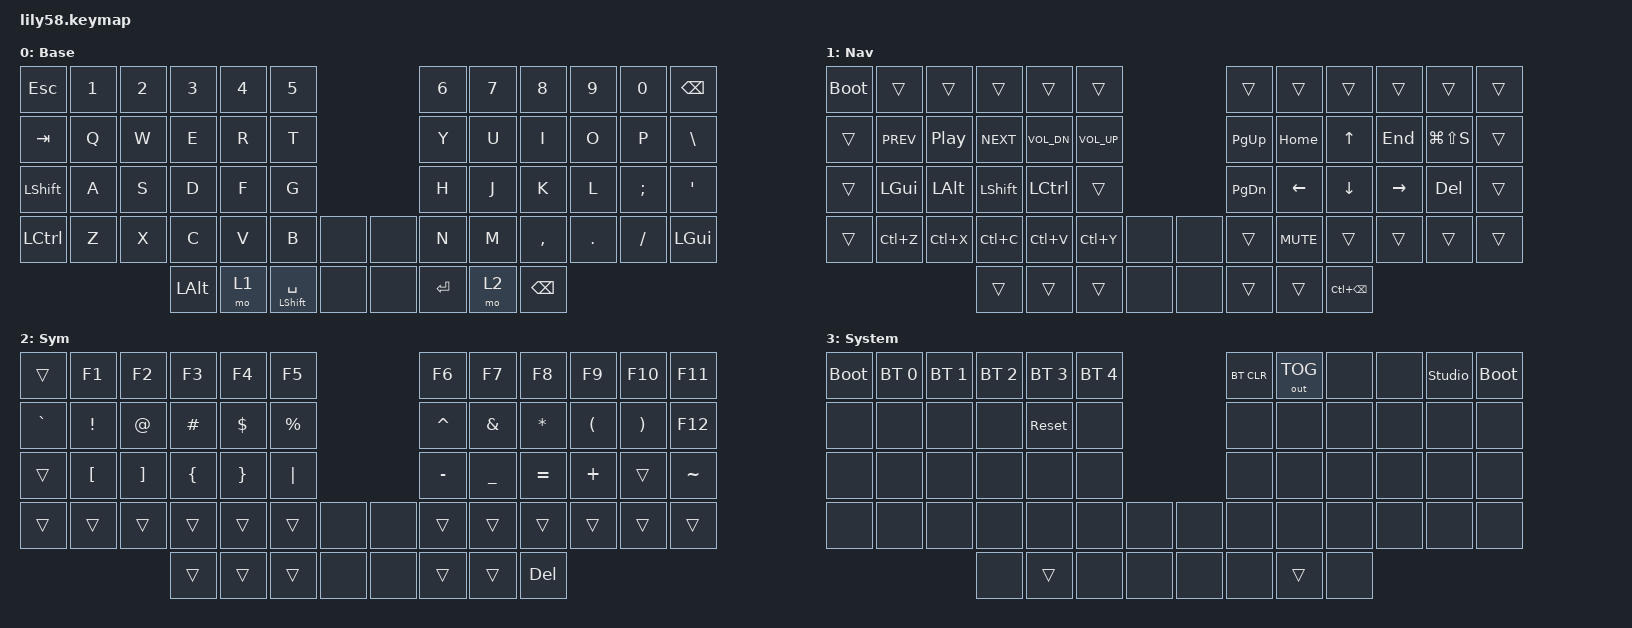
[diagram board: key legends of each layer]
/*
 * Chris's Lily58-style 54-key wireless split (nice!nano v2 clones), ZMK v0.3.
 *
 * The board uses ZMK's stock Lily58 definition, which has 58 key positions.
 * These 4 positions do not exist physically on this board and are set to &none:
 *   42 ("[" inner key, left), 43 ("]" inner key, right),
 *   53 (inner-most left thumb), 54 (inner-most right thumb).
 * (Keymap Editor draws 53/54 as the tilted thumb keys. Your real tilted
 *  thumb keys are 52 = Space and 55 = Enter.)
 *
 * Key position numbers (used by combos):
 *    0  1  2  3  4  5                     6  7  8  9 10 11
 *   12 13 14 15 16 17                    18 19 20 21 22 23
 *   24 25 26 27 28 29                    30 31 32 33 34 35
 *   36 37 38 39 40 41 (42)          (43) 44 45 46 47 48 49
 *            50 51 52 (53)          (54) 55 56 57
 *
 * Layers:
 *   0 Base
 *   1 Nav    hold left FN thumb   (left hand holds mods, right hand moves)
 *   2 Sym    hold right thumb     (F-keys + symbols)
 *   3 System hold BOTH layer thumbs (Bluetooth, bootloader, Studio unlock)
 *   4 Extra  spare, enable it in ZMK Studio
 */

#include <behaviors.dtsi>
#include <dt-bindings/zmk/keys.h>
#include <dt-bindings/zmk/bt.h>
#include <dt-bindings/zmk/outputs.h>

/ {
    behaviors {
        // Tap = Space, hold = Shift. "balanced": Shift only if another key is
        // pressed AND released while Space is still down, so fast rolls stay spaces.
        space_shift: space_shift {
            compatible = "zmk,behavior-hold-tap";
            display-name = "Space / Shift";
            #binding-cells = <2>;
            bindings = <&kp>, <&kp>;
            tapping-term-ms = <200>;
            flavor = "balanced";
        };
    };

    conditional_layers {
        compatible = "zmk,conditional-layers";

        // Holding Nav (1) and Sym (2) together turns on System (3).
        tri_layer {
            if-layers = <1 2>;
            then-layer = <3>;
        };
    };

    combos {
        compatible = "zmk,combos";

        // Safety combos. Studio can't change combos, so these always work.
        combo_studio_unlock {
            timeout-ms = <80>;
            key-positions = <0 11>;             // top-left + top-right corner keys -> unlock ZMK Studio
            bindings = <&studio_unlock>;
        };

        combo_bootloader_left {
            timeout-ms = <80>;
            key-positions = <0 12 24>;          // left outer column, top 3 keys (Esc+Tab+Shift) -> left half bootloader
            bindings = <&bootloader>;
        };

        combo_dictation {
            timeout-ms = <50>;
            key-positions = <52 55>;            // Space + Enter thumbs -> Ctrl+Win+Space (Wispr Flow)
            bindings = <&kp LC(LG(SPACE))>;
        };
    };

    keymap {
        compatible = "zmk,keymap";

        base_layer {
            display-name = "Base";
// | ESC  |  1  |  2  |  3  |  4  |  5  |               |  6  |  7  |  8  |  9  |  0  | BKSP |
// | TAB  |  Q  |  W  |  E  |  R  |  T  |               |  Y  |  U  |  I  |  O  |  P  |  \   |
// | SHFT |  A  |  S  |  D  |  F  |  G  |               |  H  |  J  |  K  |  L  |  ;  |  '   |
// | CTRL |  Z  |  X  |  C  |  V  |  B  |  --  |  |  -- |  N  |  M  |  ,  |  .  |  /  | WIN  |
//                    | ALT | NAV |SPC/SHFT| -- |  | -- |ENTER| SYM |BKSP |
            bindings = <
&kp ESC   &kp N1 &kp N2 &kp N3   &kp N4 &kp N5                                         &kp N6 &kp N7   &kp N8    &kp N9  &kp N0   &kp BSPC
&kp TAB   &kp Q  &kp W  &kp E    &kp R  &kp T                                          &kp Y  &kp U    &kp I     &kp O   &kp P    &kp BSLH
&kp LSHFT &kp A  &kp S  &kp D    &kp F  &kp G                                          &kp H  &kp J    &kp K     &kp L   &kp SEMI &kp SQT
&kp LCTRL &kp Z  &kp X  &kp C    &kp V  &kp B                  &none        &none      &kp N  &kp M    &kp COMMA &kp DOT &kp FSLH &kp LGUI
                        &kp LALT &mo 1  &space_shift LSHFT SPACE &none      &none      &kp RET &mo 2   &kp BSPC
            >;
        };

        nav_layer {
            display-name = "Nav";
// | BOOT |     |     |     |     |     |               |     |     |     |     |     |      |
// |      |PREV |PLAY |NEXT |VOL- |VOL+ |               |PGUP |HOME | UP  | END |SNIP |      |
// |      | WIN | ALT |SHFT |CTRL |     |               |PGDN |LEFT |DOWN |RIGHT| DEL |      |
// |      |UNDO | CUT |COPY |PASTE|REDO |  --  |  |  -- |     |MUTE |     |     |     |      |
//                    | ALT |(held)|    |  --  |  |  -- |     | SYS |DELWORD|
            bindings = <
&bootloader &trans     &trans    &trans     &trans       &trans                        &trans    &trans     &trans   &trans    &trans        &trans
&trans      &kp C_PREV &kp C_PP  &kp C_NEXT &kp C_VOL_DN &kp C_VOL_UP                  &kp PG_UP &kp HOME   &kp UP   &kp END   &kp LG(LS(S)) &trans
&trans      &kp LGUI   &kp LALT  &kp LSHFT  &kp LCTRL    &trans                        &kp PG_DN &kp LEFT   &kp DOWN &kp RIGHT &kp DEL       &trans
&trans      &kp LC(Z)  &kp LC(X) &kp LC(C)  &kp LC(V)    &kp LC(Y)  &none    &none     &trans    &kp C_MUTE &trans   &trans    &trans        &trans
                                 &trans     &trans       &trans     &none    &none     &trans    &trans     &kp LC(BSPC)
            >;
        };

        sym_layer {
            display-name = "Sym";
// |      | F1  | F2  | F3  | F4  | F5  |               | F6  | F7  | F8  | F9  | F10 | F11  |
// |  `   |  !  |  @  |  #  |  $  |  %  |               |  ^  |  &  |  *  |  (  |  )  | F12  |
// |      |  [  |  ]  |  {  |  }  |  |  |               |  -  |  _  |  =  |  +  |     |  ~   |
// |      |     |     |     |     |     |  --  |  |  -- |     |     |     |     |     |      |
//                    | ALT | SYS |     |  --  |  |  -- |     |(held)| DEL |
            bindings = <
&trans    &kp F1   &kp F2   &kp F3   &kp F4   &kp F5                             &kp F6    &kp F7    &kp F8    &kp F9   &kp F10  &kp F11
&kp GRAVE &kp EXCL &kp AT   &kp HASH &kp DLLR &kp PRCNT                          &kp CARET &kp AMPS  &kp ASTRK &kp LPAR &kp RPAR &kp F12
&trans    &kp LBKT &kp RBKT &kp LBRC &kp RBRC &kp PIPE                           &kp MINUS &kp UNDER &kp EQUAL &kp PLUS &trans   &kp TILDE
&trans    &trans   &trans   &trans   &trans   &trans    &none         &none      &trans    &trans    &trans    &trans   &trans   &trans
                            &trans   &trans   &trans    &none         &none      &trans    &trans    &kp DEL
            >;
        };

        sys_layer {
            display-name = "System";
// | BOOT | BT1 | BT2 | BT3 | BT4 | BT5 |               |BTCLR|USB/BT|    |     |UNLCK| BOOT |
// |      |     |     |     |RESTART|    |               |     |      |    |     |     |      |
// |   (everything else does nothing on this layer)                                         |
//                    |     |(held)|    |  --  |  |  -- |     |(held)|     |
            bindings = <
&bootloader &bt BT_SEL 0 &bt BT_SEL 1 &bt BT_SEL 2 &bt BT_SEL 3 &bt BT_SEL 4             &bt BT_CLR &out OUT_TOG &none &none &studio_unlock &bootloader
&none       &none        &none        &none        &sys_reset   &none                    &none      &none        &none &none &none          &none
&none       &none        &none        &none        &none        &none                    &none      &none        &none &none &none          &none
&none       &none        &none        &none        &none        &none   &none    &none   &none      &none        &none &none &none          &none
                                      &none        &trans       &none   &none    &none   &none      &trans       &none
            >;
        };

        // Spare layer you can turn on and fill in from ZMK Studio.
        extra1 {
            display-name = "Extra";
            status = "reserved";
        };
    };
};
